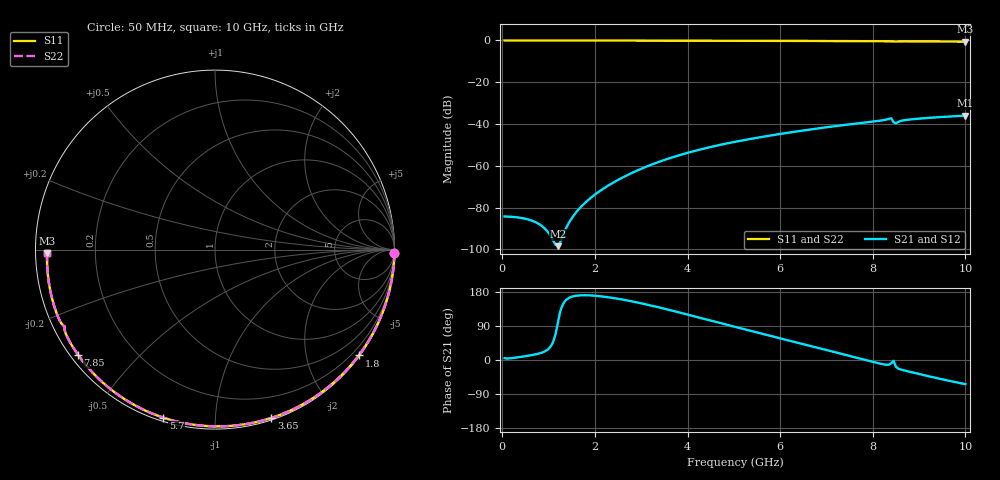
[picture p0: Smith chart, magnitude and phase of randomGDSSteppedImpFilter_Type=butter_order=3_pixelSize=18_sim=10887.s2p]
! freq	dB(S11)	phase(S11)	dB(S12)	phase(S12)
!  dB(S21)	phase(S21)	dB(S22)	phase(S22)
!S-par simulation data
#  GHz  S  DB  R 50
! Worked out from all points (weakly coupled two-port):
!   200 points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, 50 MHz to 10 GHz, reference 50 ohm
!   highest |S21| = -35.97 dB at 10 GHz (marker M1); lowest = -98.5 dB at 1.2 GHz (marker M2)
!   lowest |S11| = -0.6 dB at 10 GHz (marker M3), VSWR 30.10, Z = 1.66 - j0.543 ohm
!   |S11| at or under -10 dB: nowhere
!   |S22| runs from -0.6 to 0.0 dB; largest |S21 - S12| = 0
!   S11 on the Smith chart (normalised r, x): 50 MHz: open; 1.8 GHz: 0.03, -3.05; 3.65 GHz: 0.02, -1.39; 5.7 GHz: 0.02, -0.74; 7.85 GHz: 0.02, -0.34; 10 GHz: 0.03, -0.01
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0.05  -0.00 -1.0  -84.30 5.0  -84.30 5.0  -0.00 -1.0
1.2  -0.03 -24.4  -98.49 98.7  -98.49 98.7  -0.03 -24.4
1.65  -0.04 -33.4  -80.85 170.3  -80.85 170.3  -0.04 -33.4
1.75  -0.04 -35.4  -78.53 170.9  -78.53 170.9  -0.04 -35.4
1.8  -0.05 -36.4  -77.48 170.9  -77.48 170.9  -0.05 -36.3
2.1  -0.05 -42.2  -72.18 168.5  -72.18 168.5  -0.05 -42.2
2.45  -0.06 -49.0  -67.36 162.6  -67.36 162.6  -0.06 -49.0
2.9  -0.07 -57.6  -62.41 152.2  -62.41 152.2  -0.07 -57.5
3.4  -0.09 -66.9  -58.00 138.3  -58.00 138.3  -0.09 -66.9
3.65  -0.10 -71.4  -56.13 130.8  -56.13 130.8  -0.10 -71.4
4.3  -0.12 -83.1  -52.06 110.4  -52.06 110.4  -0.12 -83.1
5.05  -0.15 -96.2  -48.43 86.7  -48.43 86.7  -0.15 -96.1
5.7  -0.18 -107.1  -45.84 66.5  -45.84 66.5  -0.18 -107.1
6.7  -0.24 -123.7  -42.47 35.7  -42.47 35.7  -0.24 -123.7
7.85  -0.34 -142.5  -39.24 -0.4  -39.24 -0.4  -0.34 -142.5
8.35  -0.41 -151.0  -37.54 -12.5  -37.54 -12.5  -0.41 -150.9
8.4  -0.45 -151.9  -37.26 -8.5  -37.26 -8.5  -0.45 -151.8
8.45  -0.50 -152.6  -39.19 -2.1  -39.19 -2.1  -0.50 -152.6
8.5  -0.54 -152.9  -39.67 -18.1  -39.67 -18.1  -0.53 -152.9
8.6  -0.45 -154.2  -38.57 -24.9  -38.57 -24.9  -0.45 -154.3
8.8  -0.43 -157.8  -37.84 -31.1  -37.84 -31.1  -0.43 -157.8
10  -0.58 -178.8  -35.97 -63.8  -35.97 -63.8  -0.58 -178.8
